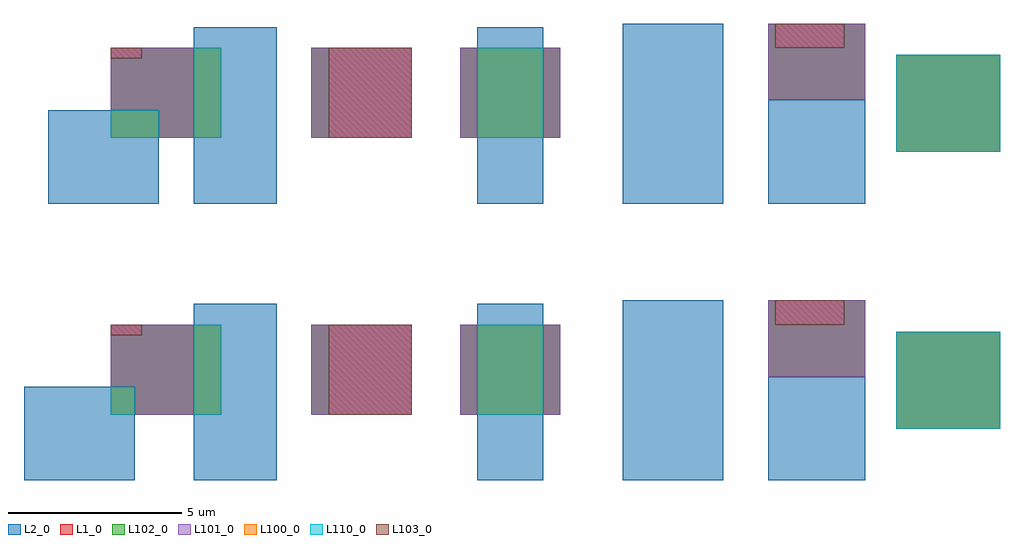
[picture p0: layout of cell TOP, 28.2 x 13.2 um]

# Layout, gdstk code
import gdstk
lib = gdstk.Library(unit=1e-6, precision=1e-09)
def R(c, l, rs):  # rectangles x0, y0, x1, y1
    for r in rs: c.add(gdstk.rectangle(r[:2], r[2:], *l))
def P(c, l, *ps):  # polygons
    for p in ps: c.add(gdstk.Polygon(p, *l))
L1_0 = (1, 0)
L2_0 = (2, 0)
L100_0 = (100, 0)
L101_0 = (101, 0)
L102_0 = (102, 0)
L103_0 = (103, 0)
L110_0 = (110, 0)

child1 = lib.new_cell('CHILD1')
R(child1, L1_0, [(22.7,0,25.7,2.8), (0,0.4,3.2,3), (5.8,0.4,8.7,3), (10.1,0.4,13,3), (19,1.5,21.8,3.7)])
R(child1, L100_0, [(22.7,0,25.7,2.8), (2.4,0.4,3.2,3), (10.6,0.4,12.5,3)])
R(child1, L101_0, [(5.8,0.4,8.7,3), (10.1,0.4,10.6,3), (12.5,0.4,13,3), (19,1.5,21.8,3.7)])
R(child1, L102_0, [(22.7,0,25.7,2.8), (5.8,0.4,6.3,3), (10.1,0.4,13,3)])
P(child1, L102_0, [(19,1.5),(19,3.7),(19.2,3.7),(19.2,3),(21.2,3),(21.2,3.7),(21.8,3.7),(21.8,1.5)],
  [(0,0.4),(0,2.7),(0.9,2.7),(0.9,3),(3.2,3),(3.2,0.4)])
R(child1, L103_0, [(6.3,0.4,8.7,3), (0,2.7,0.9,3), (19.2,3,21.2,3.7)])
R(child1, L110_0, [(22.7,0,25.7,2.8), (2.4,0.4,3.2,3), (10.6,0.4,12.5,3)])

child2 = lib.new_cell('CHILD2')
R(child2, L2_0, [(0,0,3.2,2.7), (4.9,0,7.3,5.1), (13.1,0,15,5.1), (0.7,8,3.9,10.7), (4.9,8,7.3,13.1), (13.1,8,15,13.1)])

top = lib.new_cell('TOP')
R(top, L2_0, [(16.6,0,19.5,5.2), (20.8,0,23.6,3), (24.5,1.5,27.5,4.3), (16.6,8,19.5,13.2), (20.8,8,23.6,11), (24.5,9.5,27.5,12.3)])
R(top, L100_0, [(1.8,1.9,2.5,2.7), (1.8,9.9,3.2,10.7)])
P(top, L101_0, [(3.2,9.9),(3.2,10.7),(1.8,10.7),(1.8,12.5),(4.2,12.5),(4.2,9.9)],
  [(2.5,1.9),(2.5,2.7),(1.8,2.7),(1.8,4.5),(4.2,4.5),(4.2,1.9)])
R(top, L110_0, [(1.8,1.9,2.5,2.7), (1.8,9.9,3.2,10.7)])
top.add(gdstk.Reference(child1, (1.8,1.5)))
top.add(gdstk.Reference(child1, (1.8,9.5)))
top.add(gdstk.Reference(child2, (-0.7,0)))

lib.write_gds('TOP.gds')
